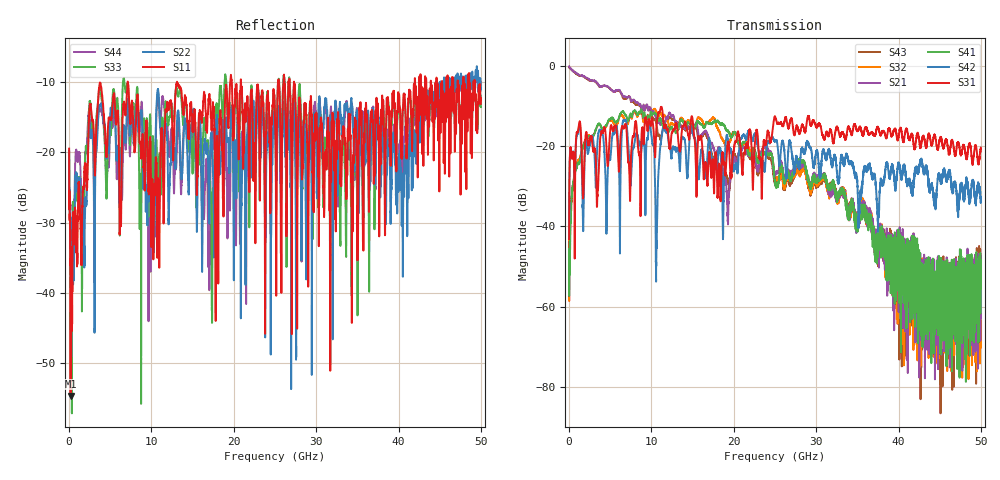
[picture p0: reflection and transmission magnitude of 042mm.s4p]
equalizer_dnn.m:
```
clear;

symbolRate = 25*1e9;   % symbol rate in Bd
M = 4;            % modulation order
maxErrs = 200;    % target number of errors at each test
maxSymb = 1e7;    % maximum number of symbols at each test
nSymb = 4096;     % number of symbols per vector

% DNN parameters parameters
inputSize = 21;
refTap = 4;
numHiddenUnits = 200;
numClasses = M;
maxEpochs = 100;
miniBatchSize = 100;

% Channel
ChannelFilename = '042mm.s4p'; %Specify channel S-parameter
imPFilename = ['impulseResponse_',ChannelFilename(1:5),'_',num2str(symbolRate/1e9),'GBd.mat'];
if ~exist(imPFilename,'file')
    ConvertSParameterToImpulseResponse;
else
    load(imPFilename);
end
chnl = chnlImP';  % channel impulse response [0.227 0.460 0.688 0.460 0.227]'
fprintf(['Impulse response of ',ChannelFilename(1:5),' Channel at ', num2str(symbolRate/1e9),'GBd is \n [',num2str(chnlImP),'].\n']);

% Equalizer
layers = [ ...
    sequenceInputLayer(inputSize)
    bilstmLayer(numHiddenUnits,'OutputMode','last')
    fullyConnectedLayer(numClasses)
    softmaxLayer
    classificationLayer];

options = trainingOptions('adam', ...
    'ExecutionEnvironment','cpu', ...
    'GradientThreshold',1, ...
    'MaxEpochs',maxEpochs, ...
    'MiniBatchSize',miniBatchSize, ...
    'SequenceLength','longest', ...
    'Shuffle','never', ...
    'Verbose',0, ...
    'Plots','training-progress');

% Initialize channel
chanState = [];
xTrain = cell(nSymb-inputSize,1);
xTest = cell(nSymb-inputSize,1);
label = zeros(nSymb-inputSize,1);

% Generate random data and apply PAM4 modulation
msg = randi([0 M-1],nSymb,1);
txSig = real(pammod(msg,M));
% Pass the signal through the channel
[filtSig,chanState] = filter(chnl,1,txSig,chanState);
noisySig = filtSig;

for pos = 1:nSymb-inputSize
    xTrain{pos} = noisySig(pos:pos+inputSize-1);
    label(pos) = msg(pos+refTap-1);
end
yTrain = categorical(label);

net = trainNetwork(xTrain,yTrain,layers,options);

% Initialize channel and error collection parameters
numErrs   = 0;
numBits   = 0;
while (numErrs < maxErrs && numBits < maxSymb)
    % Generate random data and apply PAM4 modulation
    msg = randi([0 M-1],nSymb,1);
    txSig = real(pammod(msg,M));
    % Pass the signal through the channel
    [filtSig,chanState] = filter(chnl,1,txSig,chanState);
    noisySig = filtSig;
    for pos = 1:nSymb-inputSize
        xTest{pos} = noisySig(pos:pos+inputSize-1);
        label(pos) = msg(pos+refTap-1);
    end
    yTest = categorical(label);
    
    if (numErrs < maxErrs)
        yPred = classify(net,xTest, ...
            'MiniBatchSize',miniBatchSize, ...
            'SequenceLength','longest');
        
        currErrs = sum(yPred ~= yTest);
        numErrs = numErrs + currErrs;       % cumulative
        numBits = numBits + numel(yTest); % cumulative
        BER = numErrs / numBits;
    end
end
```
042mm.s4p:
!Agilent Technologies,N5245A,MY51251349,A.09.33.09
!Agilent N5245A: A.09.33.09
!Date: Wednesday, September 30, 2020 11:25:14
!Correction: S11(Full 4 Port(1,2,3,4))
!S12(Full 4 Port(1,2,3,4))
!S13(Full 4 Port(1,2,3,4))
!S14(Full 4 Port(1,2,3,4))
!S21(Full 4 Port(1,2,3,4))
!S22(Full 4 Port(1,2,3,4))
!S23(Full 4 Port(1,2,3,4))
!S24(Full 4 Port(1,2,3,4))
!S31(Full 4 Port(1,2,3,4))
!S32(Full 4 Port(1,2,3,4))
!S33(Full 4 Port(1,2,3,4))
!S34(Full 4 Port(1,2,3,4))
!S41(Full 4 Port(1,2,3,4))
!S42(Full 4 Port(1,2,3,4))
!S43(Full 4 Port(1,2,3,4))
!S44(Full 4 Port(1,2,3,4))
!S4P File: Measurements: <S11,S12,S13,S14>,
!<S21,S22,S23,S24>,
!<S31,S32,S33,S34>,
!<S41,S42,S43,S44>:
# Hz S  dB  R 50
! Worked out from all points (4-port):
!   6401 points, 10 MHz to 50 GHz, reference 50 ohm
!   strongest paths, dB at 10 MHz, 12.51 GHz, 25 GHz, 37.5 GHz, 50 GHz:
!     S31: -43.1, -16.7, -12.7, -15.3, -20.4
!     S42: -42.8, -21.6, -18.8, -40.1, -33.0
!     S41: -45.8, -15.5, -29.4, -45.8, -55.3
!     S21: -0.1, -12.5, -27.0, -43.5, -54.8
!     S32: -40.2, -14.3, -27.9, -41.5, -50.3
!     S43: -0.3, -13.3, -28.9, -44.3, -55.4
!   lowest |S11| = -54.7 dB at 189.7 MHz (marker M1), VSWR 1.00, Z = 50.2 + j0.0447 ohm
!   |S11| at or under -10 dB: start of sweep to 7.117 GHz; 13.12 GHz to 19.57 GHz (6.445 GHz wide, 39.4 % of centre); 27.31 GHz to 41.97 GHz (14.65 GHz wide, 42.3 % of centre)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
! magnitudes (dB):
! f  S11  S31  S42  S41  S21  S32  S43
! 10 MHz  -19.5  -43.1  -42.8  -45.8  -0.1  -40.2  -0.3
! 189.7 MHz  -54.7  -20.5  -20.6  -37.5  -0.6  -38.6  -0.7
! 50 GHz  -12.3  -20.4  -33.0  -55.3  -54.8  -50.3  -55.4
